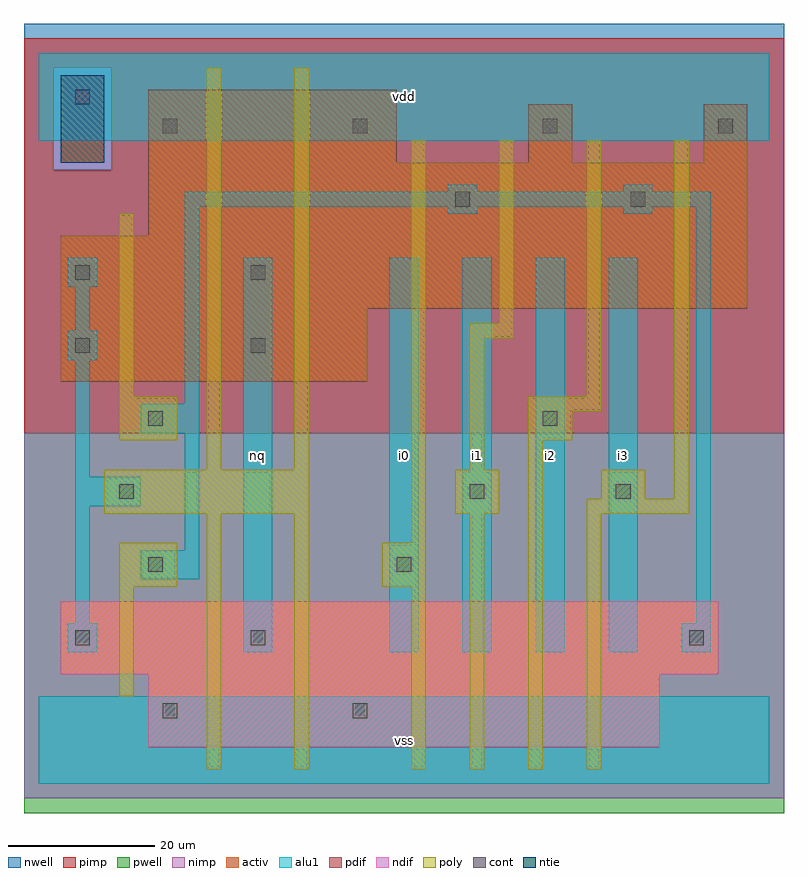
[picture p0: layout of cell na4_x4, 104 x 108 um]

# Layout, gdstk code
import gdstk
lib = gdstk.Library(unit=1e-6, precision=1e-09)
def R(c, l, rs):  # rectangles x0, y0, x1, y1
    for r in rs: c.add(gdstk.rectangle(r[:2], r[2:], *l))
def A(c, l, x, y, w, h, nx, ny, dx, dy):  # array of equal rectangles
    R(c, l, [(x+i*dx, y+j*dy, x+i*dx+w, y+j*dy+h) for i in range(nx) for j in range(ny)])
ndif = (3, 0)
pdif = (4, 0)
ntie = (5, 0)
cont = (25, 0)
pwell = (41, 0)
nwell = (42, 0)
activ = (43, 0)
pimp = (44, 0)
nimp = (45, 0)
poly = (46, 0)
alu1 = (49, 0)

na4_x4 = lib.new_cell('na4_x4')
R(na4_x4, ndif, [(15,5,85,15), (3,15,93,25)])
R(na4_x4, pdif, [(3,55,45,65), (3,65,97,75), (15,75,97,85), (15,85,49,95), (67,85,73,93), (91,85,97,93)])
R(na4_x4, ntie, [(3,85,9,97)])
A(na4_x4, cont, 17, 89, 2, 2, 3, 1, 26, 0)
R(na4_x4, cont, [(17,9,19,11), (43,9,45,11), (5,19,7,21), (29,19,31,21), (89,19,91,21), (15,29,17,31), (49,29,51,31), (11,39,13,41), (59,39,61,41), (79,39,81,41), (15,49,17,51), (69,49,71,51), (5,59,7,61), (29,59,31,61), (5,69,7,71), (29,69,31,71), (57,79,59,81), (81,79,83,81), (93,89,95,91), (5,93,7,95)])
R(na4_x4, pwell, [(-2,-4,102,48)])
R(na4_x4, nwell, [(-2,48,102,104)])
R(na4_x4, activ, [(15,5,85,15), (3,15,93,25), (3,55,45,65), (3,65,97,75), (15,75,97,85), (3,85,9,97), (15,85,49,95), (67,85,73,93), (91,85,97,93)])
R(na4_x4, pimp, [(-2,48,102,84), (-2,84,2,98), (10,84,102,98), (-2,98,102,102)])
R(na4_x4, nimp, [(-2,-2,102,48), (2,84,10,98)])
R(na4_x4, poly, [(23,2,25,37), (35,2,37,37), (51,2,53,27), (59,2,61,37), (67,2,69,47), (75,2,77,37), (11,12,13,27), (11,27,19,33), (47,27,53,33), (51,33,53,88), (9,37,37,43), (57,37,63,43), (75,37,89,39), (77,39,83,43), (87,39,89,88), (23,43,25,98), (35,43,37,98), (59,43,61,61), (11,47,19,53), (67,47,73,51), (67,51,77,53), (11,53,13,78), (75,53,77,88), (59,61,65,63), (63,63,65,88)])
A(na4_x4, alu1, 48, 18, 4, 54, 4, 1, 10, 0)
R(na4_x4, alu1, [(0,0,100,12), (4,18,8,22), (28,18,32,72), (88,18,92,22), (5,22,7,38), (90,22,92,79), (14,28,22,32), (20,32,22,48), (5,38,14,42), (5,42,7,58), (14,48,22,52), (20,52,22,79), (4,58,8,62), (5,62,7,68), (4,68,8,72), (56,78,60,79), (80,78,84,79), (20,79,92,81), (56,81,60,82), (80,81,84,82), (0,88,100,100)])
na4_x4.add(gdstk.Label('nq', (30,45), layer=49, texttype=0))
na4_x4.add(gdstk.Label('vss', (50,6), layer=49, texttype=0))
na4_x4.add(gdstk.Label('i0', (50,45), layer=49, texttype=0))
na4_x4.add(gdstk.Label('i2', (70,45), layer=49, texttype=0))
na4_x4.add(gdstk.Label('i1', (60,45), layer=49, texttype=0))
na4_x4.add(gdstk.Label('vdd', (50,94), layer=49, texttype=0))
na4_x4.add(gdstk.Label('i3', (80,45), layer=49, texttype=0))

lib.write_gds('na4_x4.gds')
